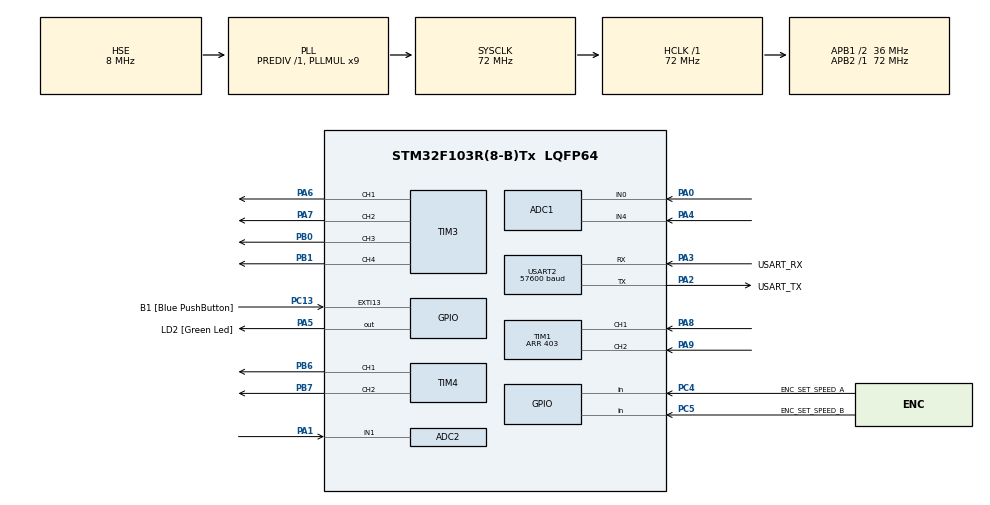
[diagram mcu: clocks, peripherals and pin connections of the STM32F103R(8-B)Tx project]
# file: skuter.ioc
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ADC1.Channel-4\#ChannelRegularConversion=ADC_CHANNEL_0
ADC1.Channel-5\#ChannelRegularConversion=ADC_CHANNEL_4
ADC1.ContinuousConvMode=ENABLE
ADC1.DataAlign=ADC_DATAALIGN_RIGHT
ADC1.DiscontinuousConvMode=DISABLE
ADC1.EnableAnalogWatchDog=false
ADC1.EnableRegularConversion=ENABLE
ADC1.ExternalTrigConv=ADC_SOFTWARE_START
ADC1.InjNumberOfConversion=0
ADC1.NbrOfConversion=2
ADC1.NbrOfConversionFlag=1
ADC1.Rank-4\#ChannelRegularConversion=1
ADC1.Rank-5\#ChannelRegularConversion=2
ADC1.SamplingTime-4\#ChannelRegularConversion=ADC_SAMPLETIME_239CYCLES_5
ADC1.SamplingTime-5\#ChannelRegularConversion=ADC_SAMPLETIME_239CYCLES_5
ADC1.ScanConvMode=ADC_SCAN_ENABLE
ADC1.master=1
ADC2.Channel-0\#ChannelRegularConversion=ADC_CHANNEL_1
ADC2.ContinuousConvMode=ENABLE
ADC2.DataAlign=ADC_DATAALIGN_RIGHT
ADC2.DiscontinuousConvMode=DISABLE
ADC2.EnableAnalogWatchDog=false
ADC2.EnableRegularConversion=ENABLE
ADC2.ExternalTrigConv=ADC_SOFTWARE_START
ADC2.InjNumberOfConversion=0
ADC2.NbrOfConversion=1
ADC2.NbrOfConversionFlag=1
ADC2.Rank-0\#ChannelRegularConversion=1
ADC2.SamplingTime-0\#ChannelRegularConversion=ADC_SAMPLETIME_1CYCLE_5
ADC2.ScanConvMode=ADC_SCAN_DISABLE
Dma.ADC1.2.Direction=DMA_PERIPH_TO_MEMORY
Dma.ADC1.2.Instance=DMA1_Channel1
Dma.ADC1.2.MemDataAlignment=DMA_MDATAALIGN_WORD
Dma.ADC1.2.MemInc=DMA_MINC_ENABLE
Dma.ADC1.2.Mode=DMA_CIRCULAR
Dma.ADC1.2.PeriphDataAlignment=DMA_PDATAALIGN_HALFWORD
Dma.ADC1.2.PeriphInc=DMA_PINC_DISABLE
Dma.ADC1.2.Priority=DMA_PRIORITY_LOW
Dma.Request0=USART2_RX
Dma.Request1=USART2_TX
Dma.Request2=ADC1
Dma.USART2_RX.0.Direction=DMA_PERIPH_TO_MEMORY
Dma.USART2_RX.0.Instance=DMA1_Channel6
Dma.USART2_RX.0.MemDataAlignment=DMA_MDATAALIGN_BYTE
Dma.USART2_RX.0.MemInc=DMA_MINC_ENABLE
Dma.USART2_RX.0.Mode=DMA_NORMAL
Dma.USART2_RX.0.PeriphDataAlignment=DMA_PDATAALIGN_BYTE
Dma.USART2_RX.0.PeriphInc=DMA_PINC_DISABLE
Dma.USART2_RX.0.Priority=DMA_PRIORITY_LOW
Dma.USART2_TX.1.Direction=DMA_MEMORY_TO_PERIPH
Dma.USART2_TX.1.Instance=DMA1_Channel7
Dma.USART2_TX.1.MemDataAlignment=DMA_MDATAALIGN_BYTE
Dma.USART2_TX.1.MemInc=DMA_MINC_ENABLE
Dma.USART2_TX.1.Mode=DMA_NORMAL
Dma.USART2_TX.1.PeriphDataAlignment=DMA_PDATAALIGN_BYTE
Dma.USART2_TX.1.PeriphInc=DMA_PINC_DISABLE
Dma.USART2_TX.1.Priority=DMA_PRIORITY_LOW
Mcu.Family=STM32F1
Mcu.Name=STM32F103R(8-B)Tx
Mcu.Package=LQFP64
NVIC.DMA1_Channel1_IRQn=true\:0\:0\:false\:false\:true\:true
NVIC.DMA1_Channel6_IRQn=true\:0\:0\:false\:false\:true\:true
NVIC.DMA1_Channel7_IRQn=true\:0\:0\:false\:false\:true\:true
NVIC.EXTI15_10_IRQn=true\:0\:0\:false\:false\:true\:true
NVIC.PriorityGroup=NVIC_PRIORITYGROUP_4
NVIC.TIM2_IRQn=true\:0\:0\:false\:false\:true\:true
NVIC.USART2_IRQn=true\:0\:0\:false\:false\:true\:true
PA0-WKUP.Signal=ADCx_IN0
PA1.Signal=ADCx_IN1
PA13.GPIO_Label=TMS
PA13.Mode=Serial_Wire
PA13.Signal=SYS_JTMS-SWDIO
PA14.GPIO_Label=TCK
PA14.Mode=Serial_Wire
PA14.Signal=SYS_JTCK-SWCLK
PA2.GPIO_Label=USART_TX
PA2.GPIO_Mode=GPIO_MODE_AF_PP
PA2.GPIO_PuPd=GPIO_NOPULL
PA2.GPIO_Speed=GPIO_SPEED_FREQ_LOW
PA2.Mode=Asynchronous
PA2.Signal=USART2_TX
PA3.GPIO_Label=USART_RX
PA3.GPIO_Mode=GPIO_MODE_AF_PP
PA3.GPIO_PuPd=GPIO_NOPULL
PA3.GPIO_Speed=GPIO_SPEED_FREQ_LOW
PA3.Mode=Asynchronous
PA3.Signal=USART2_RX
PA4.Signal=ADCx_IN4
PA5.GPIO_Label=LD2 [Green Led]
PA5.GPIO_ModeDefaultOutputPP=GPIO_MODE_OUTPUT_PP
PA5.GPIO_PuPd=GPIO_NOPULL
PA5.GPIO_Speed=GPIO_SPEED_FREQ_LOW
PA5.Signal=GPIO_Output
PA6.GPIO_Speed=GPIO_SPEED_FREQ_HIGH
PA6.Signal=S_TIM3_CH1
PA7.GPIO_Speed=GPIO_SPEED_FREQ_HIGH
PA7.Signal=S_TIM3_CH2
PA8.GPIO_PuPd=GPIO_NOPULL
PA8.Signal=S_TIM1_CH1
PA9.GPIO_PuPd=GPIO_NOPULL
PA9.Signal=S_TIM1_CH2
PB0.GPIO_Speed=GPIO_SPEED_FREQ_HIGH
PB0.Signal=S_TIM3_CH3
PB1.GPIO_Speed=GPIO_SPEED_FREQ_HIGH
PB1.Signal=S_TIM3_CH4
PB3.GPIO_Label=SWO
PB3.Signal=SYS_JTDO-TRACESWO
PB6.GPIO_Speed=GPIO_SPEED_FREQ_HIGH
PB6.Signal=S_TIM4_CH1
PB7.GPIO_Speed=GPIO_SPEED_FREQ_HIGH
PB7.Signal=S_TIM4_CH2
PC13-TAMPER-RTC.GPIO_Label=B1 [Blue PushButton]
PC13-TAMPER-RTC.GPIO_ModeDefaultEXTI=GPIO_MODE_IT_RISING
PC13-TAMPER-RTC.GPIO_PuPd=GPIO_NOPULL
PC13-TAMPER-RTC.Signal=GPXTI13
PC14-OSC32_IN.Signal=RCC_OSC32_IN
PC15-OSC32_OUT.Signal=RCC_OSC32_OUT
PC4.GPIO_Label=ENC_SET_SPEED_A
PC4.GPIO_PuPd=GPIO_PULLDOWN
PC4.Signal=GPIO_Input
PC5.GPIO_Label=ENC_SET_SPEED_B
PC5.GPIO_PuPd=GPIO_PULLDOWN
PC5.Signal=GPIO_Input
PD0-OSC_IN.Mode=HSE-External-Oscillator
PD0-OSC_IN.Signal=RCC_OSC_IN
PD1-OSC_OUT.Mode=HSE-External-Oscillator
PD1-OSC_OUT.Signal=RCC_OSC_OUT
ProjectManager.HeapSize=0x200
ProjectManager.StackSize=0x400
ProjectManager.TargetToolchain=SW4STM32
RCC.ADCPresc=RCC_ADCPCLK2_DIV6
RCC.AHBFreq_Value=72000000
RCC.APB1CLKDivider=RCC_HCLK_DIV2
RCC.APB1Freq_Value=36000000
RCC.APB1TimFreq_Value=72000000
RCC.APB2Freq_Value=72000000
RCC.APB2TimFreq_Value=72000000
RCC.HCLKFreq_Value=72000000
RCC.PLLMUL=RCC_PLL_MUL9
RCC.PLLSourceVirtual=RCC_PLLSOURCE_HSE
RCC.SYSCLKFreq_VALUE=72000000
RCC.SYSCLKSource=RCC_SYSCLKSOURCE_PLLCLK
RCC.USBFreq_Value=72000000
SH.ADCx_IN0.0=ADC1_IN0,IN0
SH.ADCx_IN1.0=ADC2_IN1,IN1
SH.ADCx_IN4.0=ADC1_IN4,IN4
SH.S_TIM1_CH1.0=TIM1_CH1,Encoder_Interface
SH.S_TIM1_CH2.0=TIM1_CH2,Encoder_Interface
SH.S_TIM3_CH1.0=TIM3_CH1,PWM Generation1 CH1
SH.S_TIM3_CH2.0=TIM3_CH2,PWM Generation2 CH2
SH.S_TIM3_CH3.0=TIM3_CH3,PWM Generation3 CH3
SH.S_TIM3_CH4.0=TIM3_CH4,PWM Generation4 CH4
SH.S_TIM4_CH1.0=TIM4_CH1,PWM Generation1 CH1
SH.S_TIM4_CH2.0=TIM4_CH2,PWM Generation2 CH2
TIM1.EncoderMode=TIM_ENCODERMODE_TI12
TIM1.IC1Filter=15
TIM1.IC2Filter=15
TIM1.Period=403
TIM2.Period=10
TIM2.Prescaler=72
TIM3.Channel-PWM\ Generation1\ CH1=TIM_CHANNEL_1
TIM3.Channel-PWM\ Generation2\ CH2=TIM_CHANNEL_2
TIM3.Channel-PWM\ Generation3\ CH3=TIM_CHANNEL_3
TIM3.Channel-PWM\ Generation4\ CH4=TIM_CHANNEL_4
TIM3.OCMode_PWM-PWM\ Generation1\ CH1=TIM_OCMODE_PWM1
TIM3.Period=TIM_PWM_PERIOD
TIM4.Channel-PWM\ Generation1\ CH1=TIM_CHANNEL_1
TIM4.Channel-PWM\ Generation2\ CH2=TIM_CHANNEL_2
TIM4.Period=TIM_PWM_PERIOD
USART2.BaudRate=57600
USART2.VirtualMode=VM_ASYNC
VP_TIM2_VS_ClockSourceINT.Mode=Internal
VP_TIM3_VS_ClockSourceINT.Mode=Internal
VP_TIM4_VS_ClockSourceINT.Mode=Internal
board=NUCLEO-F103RB

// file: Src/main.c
/**
  ******************************************************************************
  * File Name          : main.c
  * Description        : Main program body
  ******************************************************************************
  *
  * COPYRIGHT(c) 2017 STMicroelectronics
  *
  * Redistribution and use in source and binary forms, with or without modification,
  * are permitted provided that the following conditions are met:
  *   1. Redistributions of source code must retain the above copyright notice,
  *      this list of conditions and the following disclaimer.
  *   2. Redistributions in binary form must reproduce the above copyright notice,
  *      this list of conditions and the following disclaimer in the documentation
  *      and/or other materials provided with the distribution.
  *   3. Neither the name of STMicroelectronics nor the names of its contributors
  *      may be used to endorse or promote products derived from this software
  *      without specific prior written permission.
  *
  * THIS SOFTWARE IS PROVIDED BY THE COPYRIGHT HOLDERS AND CONTRIBUTORS "AS IS"
  * AND ANY EXPRESS OR IMPLIED WARRANTIES, INCLUDING, BUT NOT LIMITED TO, THE
  * IMPLIED WARRANTIES OF MERCHANTABILITY AND FITNESS FOR A PARTICULAR PURPOSE ARE
  * DISCLAIMED. IN NO EVENT SHALL THE COPYRIGHT HOLDER OR CONTRIBUTORS BE LIABLE
  * FOR ANY DIRECT, INDIRECT, INCIDENTAL, SPECIAL, EXEMPLARY, OR CONSEQUENTIAL
  * DAMAGES (INCLUDING, BUT NOT LIMITED TO, PROCUREMENT OF SUBSTITUTE GOODS OR
  * SERVICES; LOSS OF USE, DATA, OR PROFITS; OR BUSINESS INTERRUPTION) HOWEVER
  * CAUSED AND ON ANY THEORY OF LIABILITY, WHETHER IN CONTRACT, STRICT LIABILITY,
  * OR TORT (INCLUDING NEGLIGENCE OR OTHERWISE) ARISING IN ANY WAY OUT OF THE USE
  * OF THIS SOFTWARE, EVEN IF ADVISED OF THE POSSIBILITY OF SUCH DAMAGE.
  *
  ******************************************************************************
  */
#include "main.h"
#include "stm32f1xx_hal.h"

/* USER CODE BEGIN Includes */

#include "motor_control.h"
#include "peripherals.h"

/* USER CODE END Includes */

ADC_HandleTypeDef hadc1;
ADC_HandleTypeDef hadc2;
DMA_HandleTypeDef hdma_adc1;

TIM_HandleTypeDef htim1;
TIM_HandleTypeDef htim2;
TIM_HandleTypeDef htim3;
TIM_HandleTypeDef htim4;

UART_HandleTypeDef huart2;
DMA_HandleTypeDef hdma_usart2_rx;
DMA_HandleTypeDef hdma_usart2_tx;

/* USER CODE BEGIN PV */
/* Private variables ---------------------------------------------------------*/

/* USER CODE END PV */

void SystemClock_Config(void);
void Error_Handler(void);
static void MX_GPIO_Init(void);
static void MX_DMA_Init(void);
static void MX_TIM1_Init(void);
static void MX_ADC2_Init(void);
static void MX_TIM2_Init(void);
static void MX_USART2_UART_Init(void);
static void MX_TIM3_Init(void);
static void MX_TIM4_Init(void);
static void MX_ADC1_Init(void);

void HAL_TIM_MspPostInit(TIM_HandleTypeDef *htim);

/* USER CODE BEGIN PFP */
/* Private function prototypes -----------------------------------------------*/

/* USER CODE END PFP */

int main(void)
{

  /* MCU Configuration----------------------------------------------------------*/

  /* Reset of all peripherals, Initializes the Flash interface and the Systick. */
  HAL_Init();

  /* Configure the system clock */
  SystemClock_Config();

  /* Initialize all configured peripherals */
  MX_GPIO_Init();
  MX_DMA_Init();
  MX_TIM1_Init();
  MX_ADC2_Init();
  MX_TIM2_Init();
  MX_USART2_UART_Init();
  MX_TIM3_Init();
  MX_TIM4_Init();
  MX_ADC1_Init();

  /* USER CODE BEGIN 2 */

  HAL_FLASH_Unlock();

  //HAL_UART_Receive_DMA(&huart2, rxBuff, 1);

  HAL_TIM_Base_Start_IT(&htim2);

  HAL_TIM_Encoder_Start(&htim1, TIM_CHANNEL_ALL);

  HAL_ADC_Start_DMA(&hadc1, adc1_values, 2);            //potentiometers for test
  HAL_ADC_Start(&hadc2);

  mc_init.tim_encoder = &htim1;
  mc_init.adc_L1 = &hadc2;
  mc_init.adc_L2 = 0;
  mc_init.adc_L3 = 0;
  mc_init.usart = &huart2;

  motor_control_init();

  //test PWM for all channels

  HAL_TIM_PWM_Start(&htim3, TIM_CHANNEL_1);
  HAL_TIM_PWM_Start(&htim3, TIM_CHANNEL_2);
  HAL_TIM_PWM_Start(&htim3, TIM_CHANNEL_3);
  HAL_TIM_PWM_Start(&htim3, TIM_CHANNEL_4);
  HAL_TIM_PWM_Start(&htim4, TIM_CHANNEL_1);
  HAL_TIM_PWM_Start(&htim4, TIM_CHANNEL_2);

//  CCR_L1_GATE_U = 900;
//  CCR_L1_GATE_D = 1800;
//  CCR_L2_GATE_U = 9000;
//  CCR_L2_GATE_D = 17000;
//  CCR_L3_GATE_U = 9000;
//  CCR_L3_GATE_D = 17000;

  /* USER CODE END 2 */

  /* Infinite loop */
  /* USER CODE BEGIN WHILE */
  while (1)
  {

      motor_control_loop();

  /* USER CODE END WHILE */

  }

}

/** System Clock Configuration
*/
void SystemClock_Config(void)
{

  RCC_OscInitTypeDef RCC_OscInitStruct;
  RCC_ClkInitTypeDef RCC_ClkInitStruct;
  RCC_PeriphCLKInitTypeDef PeriphClkInit;

    /**Initializes the CPU, AHB and APB busses clocks
    */
  RCC_OscInitStruct.OscillatorType = RCC_OSCILLATORTYPE_HSE;
  RCC_OscInitStruct.HSEState = RCC_HSE_ON;
  RCC_OscInitStruct.HSEPredivValue = RCC_HSE_PREDIV_DIV1;
  RCC_OscInitStruct.HSIState = RCC_HSI_ON;
  RCC_OscInitStruct.PLL.PLLState = RCC_PLL_ON;
  RCC_OscInitStruct.PLL.PLLSource = RCC_PLLSOURCE_HSE;
  RCC_OscInitStruct.PLL.PLLMUL = RCC_PLL_MUL9;
  if (HAL_RCC_OscConfig(&RCC_OscInitStruct) != HAL_OK)
  {
    Error_Handler();
  }

    /**Initializes the CPU, AHB and APB busses clocks
    */
  RCC_ClkInitStruct.ClockType = RCC_CLOCKTYPE_HCLK|RCC_CLOCKTYPE_SYSCLK
                              |RCC_CLOCKTYPE_PCLK1|RCC_CLOCKTYPE_PCLK2;
  RCC_ClkInitStruct.SYSCLKSource = RCC_SYSCLKSOURCE_PLLCLK;
  RCC_ClkInitStruct.AHBCLKDivider = RCC_SYSCLK_DIV1;
  RCC_ClkInitStruct.APB1CLKDivider = RCC_HCLK_DIV2;
  RCC_ClkInitStruct.APB2CLKDivider = RCC_HCLK_DIV1;

  if (HAL_RCC_ClockConfig(&RCC_ClkInitStruct, FLASH_LATENCY_2) != HAL_OK)
  {
    Error_Handler();
  }

  PeriphClkInit.PeriphClockSelection = RCC_PERIPHCLK_ADC;
  PeriphClkInit.AdcClockSelection = RCC_ADCPCLK2_DIV6;
  if (HAL_RCCEx_PeriphCLKConfig(&PeriphClkInit) != HAL_OK)
  {
    Error_Handler();
  }

    /**Configure the Systick interrupt time
    */
  HAL_SYSTICK_Config(HAL_RCC_GetHCLKFreq()/1000);

    /**Configure the Systick
    */
  HAL_SYSTICK_CLKSourceConfig(SYSTICK_CLKSOURCE_HCLK);

  /* SysTick_IRQn interrupt configuration */
  HAL_NVIC_SetPriority(SysTick_IRQn, 0, 0);
}

/* ADC1 init function */
static void MX_ADC1_Init(void)
{

  ADC_ChannelConfTypeDef sConfig;

    /**Common config
    */
  hadc1.Instance = ADC1;
  hadc1.Init.ScanConvMode = ADC_SCAN_ENABLE;
  hadc1.Init.ContinuousConvMode = ENABLE;
  hadc1.Init.DiscontinuousConvMode = DISABLE;
  hadc1.Init.ExternalTrigConv = ADC_SOFTWARE_START;
  hadc1.Init.DataAlign = ADC_DATAALIGN_RIGHT;
  hadc1.Init.NbrOfConversion = 2;
  if (HAL_ADC_Init(&hadc1) != HAL_OK)
  {
    Error_Handler();
  }

    /**Configure Regular Channel
    */
  sConfig.Channel = ADC_CHANNEL_0;
  sConfig.Rank = 1;
  sConfig.SamplingTime = ADC_SAMPLETIME_239CYCLES_5;
  if (HAL_ADC_ConfigChannel(&hadc1, &sConfig) != HAL_OK)
  {
    Error_Handler();
  }

    /**Configure Regular Channel
    */
  sConfig.Channel = ADC_CHANNEL_4;
  sConfig.Rank = 2;
  if (HAL_ADC_ConfigChannel(&hadc1, &sConfig) != HAL_OK)
  {
    Error_Handler();
  }

}

/* ADC2 init function */
static void MX_ADC2_Init(void)
{

  ADC_ChannelConfTypeDef sConfig;

    /**Common config
    */
  hadc2.Instance = ADC2;
  hadc2.Init.ScanConvMode = ADC_SCAN_DISABLE;
  hadc2.Init.ContinuousConvMode = ENABLE;
  hadc2.Init.DiscontinuousConvMode = DISABLE;
  hadc2.Init.ExternalTrigConv = ADC_SOFTWARE_START;
  hadc2.Init.DataAlign = ADC_DATAALIGN_RIGHT;
  hadc2.Init.NbrOfConversion = 1;
  if (HAL_ADC_Init(&hadc2) != HAL_OK)
  {
    Error_Handler();
  }

    /**Configure Regular Channel
    */
  sConfig.Channel = ADC_CHANNEL_1;
  sConfig.Rank = 1;
  sConfig.SamplingTime = ADC_SAMPLETIME_1CYCLE_5;
  if (HAL_ADC_ConfigChannel(&hadc2, &sConfig) != HAL_OK)
  {
    Error_Handler();
  }

}

/* TIM1 init function */
static void MX_TIM1_Init(void)
{

  TIM_Encoder_InitTypeDef sConfig;
  TIM_MasterConfigTypeDef sMasterConfig;

  htim1.Instance = TIM1;
  htim1.Init.Prescaler = 0;
  htim1.Init.CounterMode = TIM_COUNTERMODE_UP;
  htim1.Init.Period = 403;
  htim1.Init.ClockDivision = TIM_CLOCKDIVISION_DIV1;
  htim1.Init.RepetitionCounter = 0;
  sConfig.EncoderMode = TIM_ENCODERMODE_TI12;
  sConfig.IC1Polarity = TIM_ICPOLARITY_RISING;
  sConfig.IC1Selection = TIM_ICSELECTION_DIRECTTI;
  sConfig.IC1Prescaler = TIM_ICPSC_DIV1;
  sConfig.IC1Filter = 15;
  sConfig.IC2Polarity = TIM_ICPOLARITY_RISING;
  sConfig.IC2Selection = TIM_ICSELECTION_DIRECTTI;
  sConfig.IC2Prescaler = TIM_ICPSC_DIV1;
  sConfig.IC2Filter = 15;
  if (HAL_TIM_Encoder_Init(&htim1, &sConfig) != HAL_OK)
  {
    Error_Handler();
  }

  sMasterConfig.MasterOutputTrigger = TIM_TRGO_RESET;
  sMasterConfig.MasterSlaveMode = TIM_MASTERSLAVEMODE_DISABLE;
  if (HAL_TIMEx_MasterConfigSynchronization(&htim1, &sMasterConfig) != HAL_OK)
  {
    Error_Handler();
  }

}

/* TIM2 init function */
static void MX_TIM2_Init(void)
{

  TIM_ClockConfigTypeDef sClockSourceConfig;
  TIM_MasterConfigTypeDef sMasterConfig;

  htim2.Instance = TIM2;
  htim2.Init.Prescaler = 72;
  htim2.Init.CounterMode = TIM_COUNTERMODE_UP;
  htim2.Init.Period = 10;
  htim2.Init.ClockDivision = TIM_CLOCKDIVISION_DIV1;
  if (HAL_TIM_Base_Init(&htim2) != HAL_OK)
  {
    Error_Handler();
  }

  sClockSourceConfig.ClockSource = TIM_CLOCKSOURCE_INTERNAL;
  if (HAL_TIM_ConfigClockSource(&htim2, &sClockSourceConfig) != HAL_OK)
  {
    Error_Handler();
  }

  sMasterConfig.MasterOutputTrigger = TIM_TRGO_RESET;
  sMasterConfig.MasterSlaveMode = TIM_MASTERSLAVEMODE_DISABLE;
  if (HAL_TIMEx_MasterConfigSynchronization(&htim2, &sMasterConfig) != HAL_OK)
  {
    Error_Handler();
  }

}

/* TIM3 init function */
static void MX_TIM3_Init(void)
{

  TIM_ClockConfigTypeDef sClockSourceConfig;
  TIM_MasterConfigTypeDef sMasterConfig;
  TIM_OC_InitTypeDef sConfigOC;

  htim3.Instance = TIM3;
  htim3.Init.Prescaler = 0;
  htim3.Init.CounterMode = TIM_COUNTERMODE_UP;
  htim3.Init.Period = TIM_PWM_PERIOD;
  htim3.Init.ClockDivision = TIM_CLOCKDIVISION_DIV1;
  if (HAL_TIM_Base_Init(&htim3) != HAL_OK)
  {
    Error_Handler();
  }

  sClockSourceConfig.ClockSource = TIM_CLOCKSOURCE_INTERNAL;
  if (HAL_TIM_ConfigClockSource(&htim3, &sClockSourceConfig) != HAL_OK)
  {
    Error_Handler();
  }

  if (HAL_TIM_PWM_Init(&htim3) != HAL_OK)
  {
    Error_Handler();
  }

  sMasterConfig.MasterOutputTrigger = TIM_TRGO_RESET;
  sMasterConfig.MasterSlaveMode = TIM_MASTERSLAVEMODE_DISABLE;
  if (HAL_TIMEx_MasterConfigSynchronization(&htim3, &sMasterConfig) != HAL_OK)
  {
    Error_Handler();
  }

  sConfigOC.OCMode = TIM_OCMODE_PWM1;
  sConfigOC.Pulse = 0;
  sConfigOC.OCPolarity = TIM_OCPOLARITY_HIGH;
  sConfigOC.OCFastMode = TIM_OCFAST_DISABLE;
  if (HAL_TIM_PWM_ConfigChannel(&htim3, &sConfigOC, TIM_CHANNEL_1) != HAL_OK)
  {
    Error_Handler();
  }

  if (HAL_TIM_PWM_ConfigChannel(&htim3, &sConfigOC, TIM_CHANNEL_2) != HAL_OK)
  {
    Error_Handler();
  }

  if (HAL_TIM_PWM_ConfigChannel(&htim3, &sConfigOC, TIM_CHANNEL_3) != HAL_OK)
  {
    Error_Handler();
  }

  if (HAL_TIM_PWM_ConfigChannel(&htim3, &sConfigOC, TIM_CHANNEL_4) != HAL_OK)
  {
    Error_Handler();
  }

  HAL_TIM_MspPostInit(&htim3);

}

/* TIM4 init function */
static void MX_TIM4_Init(void)
{

  TIM_ClockConfigTypeDef sClockSourceConfig;
  TIM_MasterConfigTypeDef sMasterConfig;
  TIM_OC_InitTypeDef sConfigOC;

  htim4.Instance = TIM4;
  htim4.Init.Prescaler = 0;
  htim4.Init.CounterMode = TIM_COUNTERMODE_UP;
  htim4.Init.Period = TIM_PWM_PERIOD;
  htim4.Init.ClockDivision = TIM_CLOCKDIVISION_DIV1;
  if (HAL_TIM_Base_Init(&htim4) != HAL_OK)
  {
    Error_Handler();
  }

  sClockSourceConfig.ClockSource = TIM_CLOCKSOURCE_INTERNAL;
  if (HAL_TIM_ConfigClockSource(&htim4, &sClockSourceConfig) != HAL_OK)
  {
    Error_Handler();
  }

  if (HAL_TIM_PWM_Init(&htim4) != HAL_OK)
  {
    Error_Handler();
  }

  sMasterConfig.MasterOutputTrigger = TIM_TRGO_RESET;
  sMasterConfig.MasterSlaveMode = TIM_MASTERSLAVEMODE_DISABLE;
  if (HAL_TIMEx_MasterConfigSynchronization(&htim4, &sMasterConfig) != HAL_OK)
  {
    Error_Handler();
  }

  sConfigOC.OCMode = TIM_OCMODE_PWM1;
  sConfigOC.Pulse = 0;
  sConfigOC.OCPolarity = TIM_OCPOLARITY_HIGH;
  sConfigOC.OCFastMode = TIM_OCFAST_DISABLE;
  if (HAL_TIM_PWM_ConfigChannel(&htim4, &sConfigOC, TIM_CHANNEL_1) != HAL_OK)
  {
    Error_Handler();
  }

  if (HAL_TIM_PWM_ConfigChannel(&htim4, &sConfigOC, TIM_CHANNEL_2) != HAL_OK)
  {
    Error_Handler();
  }

  HAL_TIM_MspPostInit(&htim4);

}

/* USART2 init function */
static void MX_USART2_UART_Init(void)
{

  huart2.Instance = USART2;
  huart2.Init.BaudRate = 57600;
  huart2.Init.WordLength = UART_WORDLENGTH_8B;
  huart2.Init.StopBits = UART_STOPBITS_1;
  huart2.Init.Parity = UART_PARITY_NONE;
  huart2.Init.Mode = UART_MODE_TX_RX;
  huart2.Init.HwFlowCtl = UART_HWCONTROL_NONE;
  huart2.Init.OverSampling = UART_OVERSAMPLING_16;
  if (HAL_UART_Init(&huart2) != HAL_OK)
  {
    Error_Handler();
  }

}

static void MX_DMA_Init(void)
{
  /* DMA controller clock enable */
  __HAL_RCC_DMA1_CLK_ENABLE();

  /* DMA interrupt init */
  /* DMA1_Channel1_IRQn interrupt configuration */
  HAL_NVIC_SetPriority(DMA1_Channel1_IRQn, 0, 0);
  HAL_NVIC_EnableIRQ(DMA1_Channel1_IRQn);
  /* DMA1_Channel6_IRQn interrupt configuration */
  HAL_NVIC_SetPriority(DMA1_Channel6_IRQn, 0, 0);
  HAL_NVIC_EnableIRQ(DMA1_Channel6_IRQn);
  /* DMA1_Channel7_IRQn interrupt configuration */
  HAL_NVIC_SetPriority(DMA1_Channel7_IRQn, 0, 0);
  HAL_NVIC_EnableIRQ(DMA1_Channel7_IRQn);

}

/** Configure pins as
        * Analog
        * Input
        * Output
        * EVENT_OUT
        * EXTI
*/
static void MX_GPIO_Init(void)
{

  GPIO_InitTypeDef GPIO_InitStruct;

  /* GPIO Ports Clock Enable */
  __HAL_RCC_GPIOC_CLK_ENABLE();
  __HAL_RCC_GPIOD_CLK_ENABLE();
  __HAL_RCC_GPIOA_CLK_ENABLE();
  __HAL_RCC_GPIOB_CLK_ENABLE();

  /*Configure GPIO pin : B1_Pin */
  GPIO_InitStruct.Pin = B1_Pin;
  GPIO_InitStruct.Mode = GPIO_MODE_IT_RISING;
  GPIO_InitStruct.Pull = GPIO_NOPULL;
  HAL_GPIO_Init(B1_GPIO_Port, &GPIO_InitStruct);

  /*Configure GPIO pin : LD2_Pin */
  GPIO_InitStruct.Pin = LD2_Pin;
  GPIO_InitStruct.Mode = GPIO_MODE_OUTPUT_PP;
  GPIO_InitStruct.Speed = GPIO_SPEED_FREQ_LOW;
  HAL_GPIO_Init(LD2_GPIO_Port, &GPIO_InitStruct);

  /*Configure GPIO pins : ENC_SET_SPEED_A_Pin ENC_SET_SPEED_B_Pin */
  GPIO_InitStruct.Pin = ENC_SET_SPEED_A_Pin|ENC_SET_SPEED_B_Pin;
  GPIO_InitStruct.Mode = GPIO_MODE_INPUT;
  GPIO_InitStruct.Pull = GPIO_PULLDOWN;
  HAL_GPIO_Init(GPIOC, &GPIO_InitStruct);

  /*Configure GPIO pin Output Level */
  HAL_GPIO_WritePin(LD2_GPIO_Port, LD2_Pin, GPIO_PIN_RESET);

  /* EXTI interrupt init*/
  HAL_NVIC_SetPriority(EXTI15_10_IRQn, 0, 0);
  HAL_NVIC_EnableIRQ(EXTI15_10_IRQn);

}

void Error_Handler(void)
{
  while(1)
  {
  }
}

/************************ (C) COPYRIGHT STMicroelectronics *****END OF FILE****/
